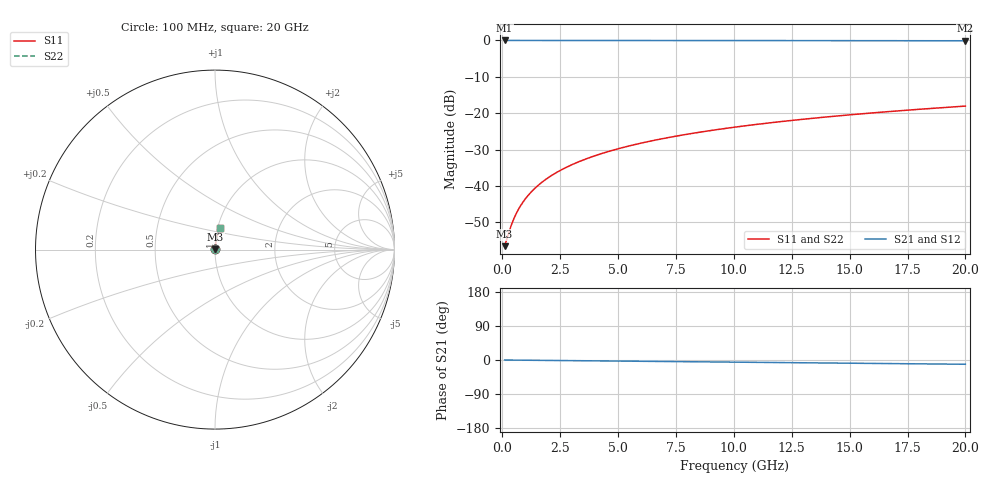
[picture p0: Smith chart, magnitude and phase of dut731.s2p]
! Touchstone file exported from HFSS 2026.1.0
!  File:  C:/ffzhzh/LocalFiles/Ansys_Project_Files/temp_train_TSV_731_1783182545_43440.aedt
!  Generated:  12:31:13 AM Jul  5, 2026
!  Design:  TSV
!  Project:  temp_train_TSV_731_1783182545_43440
! Variables:
!  h_bsmrdl = 2um
!  h_ox = 20um
!  h_rdl = 5um
!  h_sub = 84.99um
!  h_tmrdl = 5um
!  h_tsv = 84.99um
!  h_via = 3um
!  l_bsmrdl = 300um
!  l_sub = 405.42um
!  l_tmrdl = 200um
!  m_sub = 200um
!  pitch = 41.66um
!  r_tsv = 2.71um
!  s_tmrdl = 10um
!  w_bsmrdl = 18um
!  w_sub = 500um
!  w_tmrdl = 12um
!  x_tsv_center1 = 206um
!  x_tsv_center2 = 524um
!  x_tsv_center3 = 736um
!  x_tsv_center4 = 1054um
!  x_tsv_center5 = 1266um
!  x_tsv_center6 = 1584um
# GHz S MA R 50.000000
! Terminal data exported
! Port[1] = TSV1_1_T1
! Port[2] = TSV1_1_T2
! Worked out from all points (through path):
!   200 points, 100 MHz to 20 GHz, reference 50 ohm
!   highest |S21| = -0.01 dB at 100 MHz (marker M1); lowest = -0.1 dB at 20 GHz (marker M2)
!   group delay of S21, straight-line fit = 1.56 ps
!   lowest |S11| = -56.5 dB at 100 MHz (marker M3), VSWR 1.00, Z = 50.1 + j0.0663 ohm
!   |S11| at or under -10 dB: start of sweep to end of sweep
!   |S22| runs from -56.5 to -18.0 dB; largest |S21 - S12| = 2.2e-15
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0.1  0.001495 26.3  0.9987 -0.1  0.9987 -0.1  0.001495 26.3
! Gamma 0 0 0 0
! Port Impedance 50 0 50 0
0.3  0.002399 55.5  0.9986 -0.2  0.9986 -0.2  0.002399 55.5
0.4  0.002968 62.5  0.9986 -0.2  0.9986 -0.2  0.002968 62.5
0.5  0.003564 67.1  0.9986 -0.3  0.9986 -0.3  0.003564 67.1
0.6  0.004177 70.4  0.9986 -0.3  0.9986 -0.3  0.004177 70.4
0.7  0.004799 72.9  0.9986 -0.4  0.9986 -0.4  0.004799 72.9
0.9  0.006061 76.2  0.9986 -0.5  0.9986 -0.5  0.006061 76.2
1.2  0.007977 79.1  0.9986 -0.7  0.9986 -0.7  0.007977 79.1
1.4  0.009263 80.4  0.9985 -0.8  0.9985 -0.8  0.009263 80.4
1.7  0.0112 81.6  0.9985 -1.0  0.9985 -1.0  0.0112 81.6
2.2  0.01443 82.9  0.9984 -1.3  0.9984 -1.3  0.01443 82.9
2.8  0.01832 83.6  0.9983 -1.6  0.9983 -1.6  0.01832 83.6
3.5  0.02284 83.9  0.9981 -2.0  0.9981 -2.0  0.02284 83.9
4.2  0.02736 84.0  0.9979 -2.4  0.9979 -2.4  0.02736 84.0
5  0.0325 83.9  0.9977 -2.9  0.9977 -2.9  0.0325 83.9
5.9  0.03826 83.7  0.9973 -3.4  0.9973 -3.4  0.03826 83.7
6.8  0.044 83.4  0.9969 -3.9  0.9969 -3.9  0.044 83.4
8.3  0.05349 82.8  0.9962 -4.7  0.9962 -4.7  0.05349 82.8
10.1  0.06478 81.9  0.9953 -5.7  0.9953 -5.7  0.06478 81.9
13.4  0.08524 80.3  0.9932 -7.6  0.9932 -7.6  0.08524 80.3
16.7  0.1054 78.7  0.9909 -9.4  0.9909 -9.4  0.1054 78.7
20  0.1253 77.0  0.9882 -11.2  0.9882 -11.2  0.1253 77.0
